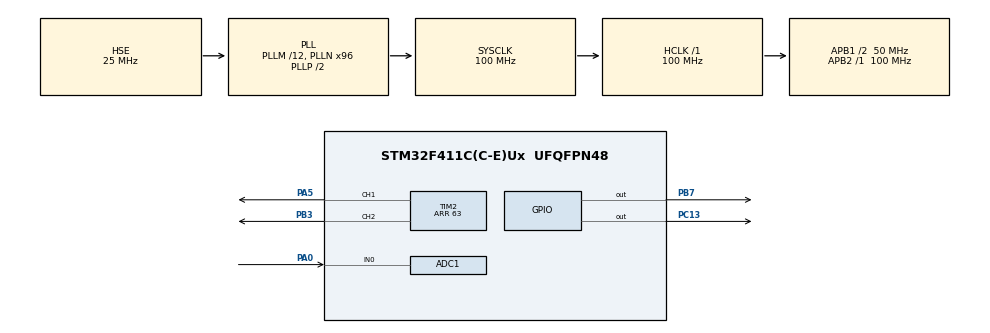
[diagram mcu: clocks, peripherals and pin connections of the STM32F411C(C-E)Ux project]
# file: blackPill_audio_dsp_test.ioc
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ADC1.Channel-0\#ChannelRegularConversion=ADC_CHANNEL_0
ADC1.ContinuousConvMode=DISABLE
ADC1.DMAContinuousRequests=ENABLE
ADC1.ExternalTrigConv=ADC_EXTERNALTRIGCONV_T3_TRGO
ADC1.NbrOfConversionFlag=1
ADC1.Rank-0\#ChannelRegularConversion=1
ADC1.SamplingTime-0\#ChannelRegularConversion=ADC_SAMPLETIME_480CYCLES
ADC1.master=1
Dma.ADC1.0.Direction=DMA_PERIPH_TO_MEMORY
Dma.ADC1.0.FIFOMode=DMA_FIFOMODE_DISABLE
Dma.ADC1.0.Instance=DMA2_Stream0
Dma.ADC1.0.MemDataAlignment=DMA_MDATAALIGN_HALFWORD
Dma.ADC1.0.MemInc=DMA_MINC_ENABLE
Dma.ADC1.0.Mode=DMA_CIRCULAR
Dma.ADC1.0.PeriphDataAlignment=DMA_PDATAALIGN_HALFWORD
Dma.ADC1.0.PeriphInc=DMA_PINC_DISABLE
Dma.ADC1.0.Priority=DMA_PRIORITY_LOW
Dma.Request0=ADC1
Mcu.Family=STM32F4
Mcu.Name=STM32F411C(C-E)Ux
Mcu.Package=UFQFPN48
NVIC.DMA2_Stream0_IRQn=true\:0\:0\:false\:false\:true\:false\:true\:true
NVIC.PriorityGroup=NVIC_PRIORITYGROUP_4
NVIC.TIM3_IRQn=true\:0\:0\:false\:false\:true\:true\:true\:true
PA0-WKUP.Signal=ADCx_IN0
PA13.Mode=Serial_Wire
PA13.Signal=SYS_JTMS-SWDIO
PA14.Mode=Serial_Wire
PA14.Signal=SYS_JTCK-SWCLK
PA5.Signal=S_TIM2_CH1_ETR
PB3.Signal=S_TIM2_CH2
PB7.Signal=GPIO_Output
PC13-ANTI_TAMP.Signal=GPIO_Output
PC14-OSC32_IN.Mode=LSE-External-Oscillator
PC14-OSC32_IN.Signal=RCC_OSC32_IN
PC15-OSC32_OUT.Mode=LSE-External-Oscillator
PC15-OSC32_OUT.Signal=RCC_OSC32_OUT
PH0\ -\ OSC_IN.Mode=HSE-External-Oscillator
PH0\ -\ OSC_IN.Signal=RCC_OSC_IN
PH1\ -\ OSC_OUT.Mode=HSE-External-Oscillator
PH1\ -\ OSC_OUT.Signal=RCC_OSC_OUT
ProjectManager.HeapSize=0x200
ProjectManager.StackSize=0x400
ProjectManager.TargetToolchain=STM32CubeIDE
RCC.48MHZClocksFreq_Value=50000000
RCC.AHBFreq_Value=100000000
RCC.APB1CLKDivider=RCC_HCLK_DIV2
RCC.APB1Freq_Value=50000000
RCC.APB1TimFreq_Value=100000000
RCC.APB2Freq_Value=100000000
RCC.APB2TimFreq_Value=100000000
RCC.CortexFreq_Value=100000000
RCC.HCLKFreq_Value=100000000
RCC.HSE_VALUE=25000000
RCC.HSI_VALUE=16000000
RCC.PLLM=12
RCC.PLLN=96
RCC.PLLSourceVirtual=RCC_PLLSOURCE_HSE
RCC.SYSCLKFreq_VALUE=100000000
RCC.SYSCLKSource=RCC_SYSCLKSOURCE_PLLCLK
RCC.VCOOutputFreq_Value=200000000
SH.ADCx_IN0.0=ADC1_IN0,IN0
SH.S_TIM2_CH1_ETR.0=TIM2_CH1,PWM Generation1 CH1
SH.S_TIM2_CH2.0=TIM2_CH2,PWM Generation2 CH2
STMicroelectronics.X-CUBE-ALGOBUILD.1.4.0.LibraryCcDSPOoLibraryJjDSPOoLibrary=true
TIM2.Channel-PWM\ Generation1\ CH1=TIM_CHANNEL_1
TIM2.Channel-PWM\ Generation2\ CH2=TIM_CHANNEL_2
TIM2.Period=63
TIM3.Channel-PWM\ Generation1\ No\ Output=TIM_CHANNEL_1
TIM3.Period=999
TIM3.Prescaler=3
TIM3.TIM_MasterOutputTrigger=TIM_TRGO_UPDATE
VP_STMicroelectronics.X-CUBE-ALGOBUILD_VS_DSPOoLibraryJjLibrary_1.4.0_1.4.0.Mode=DSPOoLibraryJjLibrary
VP_TIM2_VS_ClockSourceINT.Mode=Internal
VP_TIM3_VS_ClockSourceINT.Mode=Internal
VP_TIM3_VS_no_output1.Mode=PWM Generation1 No Output
board=custom

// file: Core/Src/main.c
/* USER CODE BEGIN Header */
/**
  ******************************************************************************
  * @file           : main.c
  * @brief          : Main program body
  ******************************************************************************
  * @attention
  *
  * Copyright (c) 2024 STMicroelectronics.
  * All rights reserved.
  *
  * This software is licensed under terms that can be found in the LICENSE file
  * in the root directory of this software component.
  * If no LICENSE file comes with this software, it is provided AS-IS.
  *
  ******************************************************************************
  */
/* USER CODE END Header */
#include "main.h"

/* USER CODE BEGIN Includes */

#include "arm_math.h"
#include <stdbool.h>

/* USER CODE END Includes */

/* USER CODE BEGIN PD */

#define BUFFER_SIZE 256
#define NUM_TAPS 32

/* USER CODE END PD */

ADC_HandleTypeDef hadc1;
DMA_HandleTypeDef hdma_adc1;

TIM_HandleTypeDef htim2;
TIM_HandleTypeDef htim3;

/* USER CODE BEGIN PV */

uint16_t adc_buffer[BUFFER_SIZE];
uint16_t dac_buffer[BUFFER_SIZE];

uint16_t curr_sample_pos;

bool processLowerBuffer;
bool processUpperBuffer;

arm_fir_instance_q15 filter1;
q15_t filter1_state[(BUFFER_SIZE / 2) + NUM_TAPS - 1];
q15_t filter1_coeffs[NUM_TAPS] = {
		-553, -725, -881, -995, -1037, -981, -808,
		-510, -93, 421, 998, 1593, 2154, 2631, 2977, 3159, 3159, 2977, 2631,
		2154, 1593, 998, 421, -93, -510, -808, -981, -1037, -995, -881, -725,
		-553
};

q15_t filter1_in[BUFFER_SIZE];
q15_t filter1_out[BUFFER_SIZE];
q15_t *filter1_in_ptr = &filter1_in[0];
q15_t *filter1_out_ptr = &filter1_out[0];

/* USER CODE END PV */

void SystemClock_Config(void);
static void MX_GPIO_Init(void);
static void MX_DMA_Init(void);
static void MX_ADC1_Init(void);
static void MX_TIM2_Init(void);
static void MX_TIM3_Init(void);
/* USER CODE BEGIN PFP */

q15_t convert_adc_to_q15(uint16_t input);
uint16_t convert_q15_to_dac(q15_t input);

/* USER CODE END PFP */

int main(void)
{

  /* USER CODE BEGIN 1 */

	//Clearing the buffers
	for(uint16_t i = 0; i < BUFFER_SIZE; i++)
	{
		adc_buffer[i] = 0;
		dac_buffer[i] = 0;
	}

	//Setting current position of the sample to begin of the buffer's lower half
	curr_sample_pos = BUFFER_SIZE / 2;

	//Resetting the flags for processing the two buffer halves
	processLowerBuffer = false;
	processUpperBuffer = false;

	arm_fir_init_q15(&filter1, NUM_TAPS, &filter1_coeffs[0], &filter1_state[0], BUFFER_SIZE / 2);

  /* USER CODE END 1 */

  /* MCU Configuration--------------------------------------------------------*/

  /* Reset of all peripherals, Initializes the Flash interface and the Systick. */
  HAL_Init();

  /* Configure the system clock */
  SystemClock_Config();

  /* Initialize all configured peripherals */
  MX_GPIO_Init();
  MX_DMA_Init();
  MX_ADC1_Init();
  MX_TIM2_Init();
  MX_TIM3_Init();
  /* USER CODE BEGIN 2 */

  //Turning off the on-board LED (inverted)
  HAL_GPIO_WritePin(GPIOC, GPIO_PIN_13, 1);

  //Starting ADC1 with DMA
  HAL_ADC_Start_DMA(&hadc1, (uint32_t*) adc_buffer, BUFFER_SIZE);

  //Starting TIM3 (triggering conversions and data transfer) with interrupts
  HAL_TIM_Base_Start_IT(&htim3);

  //Starting TIM2 (PWM generation)
  HAL_TIM_PWM_Start(&htim2, TIM_CHANNEL_1);
  HAL_TIM_PWM_Start(&htim2, TIM_CHANNEL_2);

  /* USER CODE END 2 */

  /* Infinite loop */
  /* USER CODE BEGIN WHILE */
  while (1)
  {
	//Processing the lower buffer if flag was set in the ISR
	if(processLowerBuffer == true)
	{
		HAL_GPIO_WritePin(GPIOB, GPIO_PIN_7, 1);

		for (uint16_t i = 0; i < BUFFER_SIZE / 2; i++) {
			filter1_in[i] = convert_adc_to_q15(adc_buffer[i]);
		}

		arm_fir_fast_q15(&filter1, filter1_in_ptr, filter1_out_ptr,
		BUFFER_SIZE / 2);

		for (uint16_t i = 0; i < BUFFER_SIZE / 2; i++) {
			dac_buffer[i] = convert_q15_to_dac(filter1_out[i]);
		}

		HAL_GPIO_WritePin(GPIOB, GPIO_PIN_7, 0);

		//Resetting the flag
		processLowerBuffer = false;
	}

	//Processing the upper buffer if flag was set in the ISR
	if(processUpperBuffer == true)
	{
		HAL_GPIO_WritePin(GPIOB, GPIO_PIN_7, 1);

		for (uint16_t i = BUFFER_SIZE / 2; i < BUFFER_SIZE; i++) {
			filter1_in[i] = convert_adc_to_q15(adc_buffer[i]);
		}

		arm_fir_fast_q15(&filter1, filter1_in_ptr + (BUFFER_SIZE / 2),
				filter1_out_ptr + (BUFFER_SIZE / 2), BUFFER_SIZE / 2);

		for (uint16_t i = BUFFER_SIZE / 2; i < BUFFER_SIZE; i++) {
			dac_buffer[i] = convert_q15_to_dac(filter1_out[i]);
		}

		processUpperBuffer = false;

		HAL_GPIO_WritePin(GPIOB, GPIO_PIN_7, 0);
	}
    /* USER CODE END WHILE */

  }
}

void SystemClock_Config(void)
{
  RCC_OscInitTypeDef RCC_OscInitStruct = {0};
  RCC_ClkInitTypeDef RCC_ClkInitStruct = {0};

  /** Configure the main internal regulator output voltage
  */
  __HAL_RCC_PWR_CLK_ENABLE();
  __HAL_PWR_VOLTAGESCALING_CONFIG(PWR_REGULATOR_VOLTAGE_SCALE1);

  /** Initializes the RCC Oscillators according to the specified parameters
  * in the RCC_OscInitTypeDef structure.
  */
  RCC_OscInitStruct.OscillatorType = RCC_OSCILLATORTYPE_HSE;
  RCC_OscInitStruct.HSEState = RCC_HSE_ON;
  RCC_OscInitStruct.PLL.PLLState = RCC_PLL_ON;
  RCC_OscInitStruct.PLL.PLLSource = RCC_PLLSOURCE_HSE;
  RCC_OscInitStruct.PLL.PLLM = 12;
  RCC_OscInitStruct.PLL.PLLN = 96;
  RCC_OscInitStruct.PLL.PLLP = RCC_PLLP_DIV2;
  RCC_OscInitStruct.PLL.PLLQ = 4;
  if (HAL_RCC_OscConfig(&RCC_OscInitStruct) != HAL_OK)
  {
    Error_Handler();
  }

  /** Initializes the CPU, AHB and APB buses clocks
  */
  RCC_ClkInitStruct.ClockType = RCC_CLOCKTYPE_HCLK|RCC_CLOCKTYPE_SYSCLK
                              |RCC_CLOCKTYPE_PCLK1|RCC_CLOCKTYPE_PCLK2;
  RCC_ClkInitStruct.SYSCLKSource = RCC_SYSCLKSOURCE_PLLCLK;
  RCC_ClkInitStruct.AHBCLKDivider = RCC_SYSCLK_DIV1;
  RCC_ClkInitStruct.APB1CLKDivider = RCC_HCLK_DIV2;
  RCC_ClkInitStruct.APB2CLKDivider = RCC_HCLK_DIV1;

  if (HAL_RCC_ClockConfig(&RCC_ClkInitStruct, FLASH_LATENCY_3) != HAL_OK)
  {
    Error_Handler();
  }
}

static void MX_ADC1_Init(void)
{

  ADC_ChannelConfTypeDef sConfig = {0};

  /** Configure the global features of the ADC (Clock, Resolution, Data Alignment and number of conversion)
  */
  hadc1.Instance = ADC1;
  hadc1.Init.ClockPrescaler = ADC_CLOCK_SYNC_PCLK_DIV4;
  hadc1.Init.Resolution = ADC_RESOLUTION_12B;
  hadc1.Init.ScanConvMode = DISABLE;
  hadc1.Init.ContinuousConvMode = DISABLE;
  hadc1.Init.DiscontinuousConvMode = DISABLE;
  hadc1.Init.ExternalTrigConvEdge = ADC_EXTERNALTRIGCONVEDGE_RISING;
  hadc1.Init.ExternalTrigConv = ADC_EXTERNALTRIGCONV_T3_TRGO;
  hadc1.Init.DataAlign = ADC_DATAALIGN_RIGHT;
  hadc1.Init.NbrOfConversion = 1;
  hadc1.Init.DMAContinuousRequests = ENABLE;
  hadc1.Init.EOCSelection = ADC_EOC_SINGLE_CONV;
  if (HAL_ADC_Init(&hadc1) != HAL_OK)
  {
    Error_Handler();
  }

  /** Configure for the selected ADC regular channel its corresponding rank in the sequencer and its sample time.
  */
  sConfig.Channel = ADC_CHANNEL_0;
  sConfig.Rank = 1;
  sConfig.SamplingTime = ADC_SAMPLETIME_480CYCLES;
  if (HAL_ADC_ConfigChannel(&hadc1, &sConfig) != HAL_OK)
  {
    Error_Handler();
  }

}

static void MX_TIM2_Init(void)
{

  TIM_ClockConfigTypeDef sClockSourceConfig = {0};
  TIM_MasterConfigTypeDef sMasterConfig = {0};
  TIM_OC_InitTypeDef sConfigOC = {0};

  htim2.Instance = TIM2;
  htim2.Init.Prescaler = 0;
  htim2.Init.CounterMode = TIM_COUNTERMODE_UP;
  htim2.Init.Period = 63;
  htim2.Init.ClockDivision = TIM_CLOCKDIVISION_DIV1;
  htim2.Init.AutoReloadPreload = TIM_AUTORELOAD_PRELOAD_DISABLE;
  if (HAL_TIM_Base_Init(&htim2) != HAL_OK)
  {
    Error_Handler();
  }
  sClockSourceConfig.ClockSource = TIM_CLOCKSOURCE_INTERNAL;
  if (HAL_TIM_ConfigClockSource(&htim2, &sClockSourceConfig) != HAL_OK)
  {
    Error_Handler();
  }
  if (HAL_TIM_PWM_Init(&htim2) != HAL_OK)
  {
    Error_Handler();
  }
  sMasterConfig.MasterOutputTrigger = TIM_TRGO_RESET;
  sMasterConfig.MasterSlaveMode = TIM_MASTERSLAVEMODE_DISABLE;
  if (HAL_TIMEx_MasterConfigSynchronization(&htim2, &sMasterConfig) != HAL_OK)
  {
    Error_Handler();
  }
  sConfigOC.OCMode = TIM_OCMODE_PWM1;
  sConfigOC.Pulse = 0;
  sConfigOC.OCPolarity = TIM_OCPOLARITY_HIGH;
  sConfigOC.OCFastMode = TIM_OCFAST_DISABLE;
  if (HAL_TIM_PWM_ConfigChannel(&htim2, &sConfigOC, TIM_CHANNEL_1) != HAL_OK)
  {
    Error_Handler();
  }
  if (HAL_TIM_PWM_ConfigChannel(&htim2, &sConfigOC, TIM_CHANNEL_2) != HAL_OK)
  {
    Error_Handler();
  }
  HAL_TIM_MspPostInit(&htim2);

}

static void MX_TIM3_Init(void)
{

  TIM_ClockConfigTypeDef sClockSourceConfig = {0};
  TIM_MasterConfigTypeDef sMasterConfig = {0};
  TIM_OC_InitTypeDef sConfigOC = {0};

  htim3.Instance = TIM3;
  htim3.Init.Prescaler = 3;
  htim3.Init.CounterMode = TIM_COUNTERMODE_UP;
  htim3.Init.Period = 999;
  htim3.Init.ClockDivision = TIM_CLOCKDIVISION_DIV1;
  htim3.Init.AutoReloadPreload = TIM_AUTORELOAD_PRELOAD_DISABLE;
  if (HAL_TIM_Base_Init(&htim3) != HAL_OK)
  {
    Error_Handler();
  }
  sClockSourceConfig.ClockSource = TIM_CLOCKSOURCE_INTERNAL;
  if (HAL_TIM_ConfigClockSource(&htim3, &sClockSourceConfig) != HAL_OK)
  {
    Error_Handler();
  }
  if (HAL_TIM_PWM_Init(&htim3) != HAL_OK)
  {
    Error_Handler();
  }
  sMasterConfig.MasterOutputTrigger = TIM_TRGO_UPDATE;
  sMasterConfig.MasterSlaveMode = TIM_MASTERSLAVEMODE_DISABLE;
  if (HAL_TIMEx_MasterConfigSynchronization(&htim3, &sMasterConfig) != HAL_OK)
  {
    Error_Handler();
  }
  sConfigOC.OCMode = TIM_OCMODE_PWM1;
  sConfigOC.Pulse = 0;
  sConfigOC.OCPolarity = TIM_OCPOLARITY_HIGH;
  sConfigOC.OCFastMode = TIM_OCFAST_DISABLE;
  if (HAL_TIM_PWM_ConfigChannel(&htim3, &sConfigOC, TIM_CHANNEL_1) != HAL_OK)
  {
    Error_Handler();
  }

}

static void MX_DMA_Init(void)
{

  /* DMA controller clock enable */
  __HAL_RCC_DMA2_CLK_ENABLE();

  /* DMA interrupt init */
  /* DMA2_Stream0_IRQn interrupt configuration */
  HAL_NVIC_SetPriority(DMA2_Stream0_IRQn, 0, 0);
  HAL_NVIC_EnableIRQ(DMA2_Stream0_IRQn);

}

static void MX_GPIO_Init(void)
{
  GPIO_InitTypeDef GPIO_InitStruct = {0};

  /* GPIO Ports Clock Enable */
  __HAL_RCC_GPIOC_CLK_ENABLE();
  __HAL_RCC_GPIOH_CLK_ENABLE();
  __HAL_RCC_GPIOA_CLK_ENABLE();
  __HAL_RCC_GPIOB_CLK_ENABLE();

  /*Configure GPIO pin Output Level */
  HAL_GPIO_WritePin(GPIOC, GPIO_PIN_13, GPIO_PIN_RESET);

  /*Configure GPIO pin Output Level */
  HAL_GPIO_WritePin(GPIOB, GPIO_PIN_7, GPIO_PIN_RESET);

  /*Configure GPIO pin : PC13 */
  GPIO_InitStruct.Pin = GPIO_PIN_13;
  GPIO_InitStruct.Mode = GPIO_MODE_OUTPUT_PP;
  GPIO_InitStruct.Pull = GPIO_NOPULL;
  GPIO_InitStruct.Speed = GPIO_SPEED_FREQ_LOW;
  HAL_GPIO_Init(GPIOC, &GPIO_InitStruct);

  /*Configure GPIO pin : PB7 */
  GPIO_InitStruct.Pin = GPIO_PIN_7;
  GPIO_InitStruct.Mode = GPIO_MODE_OUTPUT_PP;
  GPIO_InitStruct.Pull = GPIO_NOPULL;
  GPIO_InitStruct.Speed = GPIO_SPEED_FREQ_LOW;
  HAL_GPIO_Init(GPIOB, &GPIO_InitStruct);

}

/* USER CODE BEGIN 4 */

void HAL_TIM_PeriodElapsedCallback(TIM_HandleTypeDef *htim)
{
	//Checking if the interrupt was caused by TIM3 (triggering conversions and data transfer)
	if (htim->Instance == TIM3)
	{
		//Setting the output sample's upper six bits to CCR1 (channel 1) and the lower six bits to CCR2 (channel 2)
		htim2.Instance->CCR1 = (dac_buffer[curr_sample_pos] & 0xFC0) >> 6;
		htim2.Instance->CCR2 = dac_buffer[curr_sample_pos] & 0xF3;

		//Setting flag for processing the lower half of the ADC's buffer
		if (curr_sample_pos == BUFFER_SIZE / 2)
		{
			processLowerBuffer = true;
		}

		//Setting flag for processing the upper half of the ADC's buffer
		if (curr_sample_pos == BUFFER_SIZE - 1)
		{
			processUpperBuffer = true;
		}

		//Incrementing the position of the current sample
		curr_sample_pos++;

		//Wrapping around if end of the buffer was reached
		if (curr_sample_pos >= BUFFER_SIZE)
		{
			curr_sample_pos = 0;
		}
	}
}

//Function to convert 12-bit ADC data to q15_t
q15_t convert_adc_to_q15(uint16_t input) {
	return (q15_t)((input << 3) - 32768);
}

//Function to convert q15_t to 12-bit DAC data
uint16_t convert_q15_to_dac(q15_t input) {
	return (uint16_t)((input + 32768) >> 3);
}

/* USER CODE END 4 */

void Error_Handler(void)
{
  __disable_irq();
  while (1)
  {
  }
}
